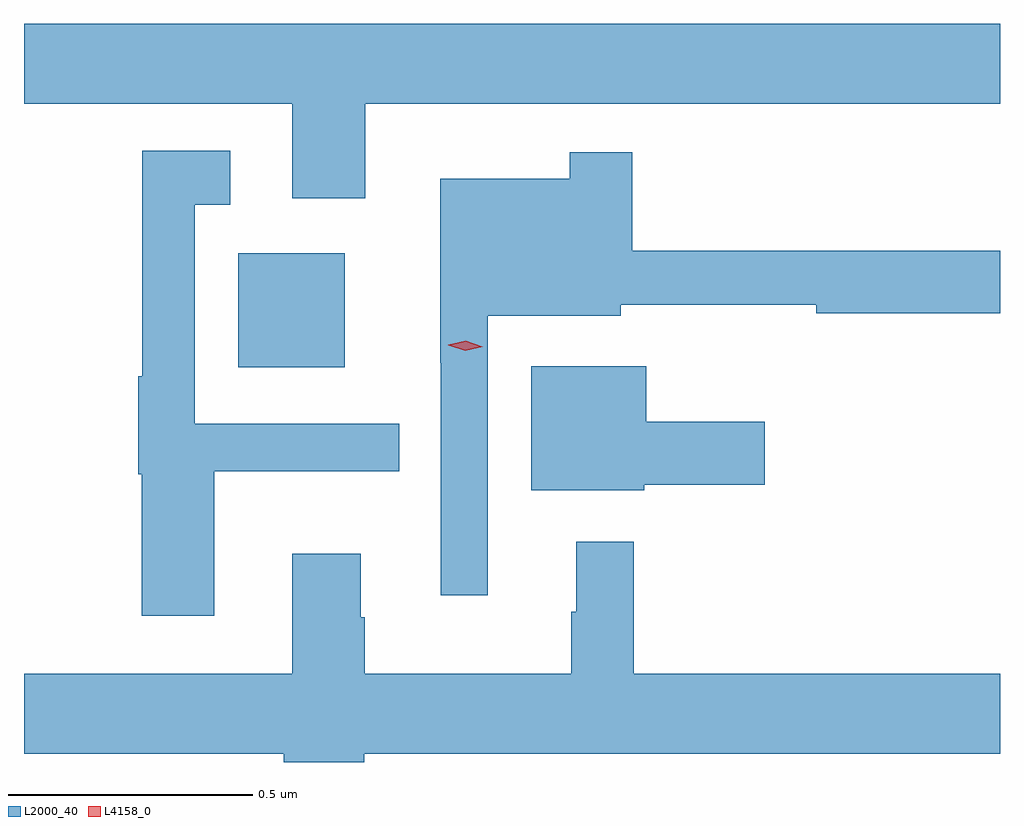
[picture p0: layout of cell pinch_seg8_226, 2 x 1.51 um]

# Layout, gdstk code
import gdstk
lib = gdstk.Library(unit=1e-6, precision=1e-09)
def R(c, l, rs):  # rectangles x0, y0, x1, y1
    for r in rs: c.add(gdstk.rectangle(r[:2], r[2:], *l))
def P(c, l, *ps):  # polygons
    for p in ps: c.add(gdstk.Polygon(p, *l))
L2000_40 = (2000, 40)
L4158_0 = (4158, 0)

pinch_seg8_226 = lib.new_cell('pinch_seg8_226')
R(pinch_seg8_226, L2000_40, [(641.288,1102.64,641.506,1102.873)])
P(pinch_seg8_226, L2000_40, [(641.548,1103.18),(642.849,1103.18),(642.849,1103.344),(640.849,1103.344),(640.849,1103.18),(641.399,1103.18),(641.399,1102.986),(641.548,1102.986)],
  [(641.239,1102.427),(641.618,1102.427),(641.618,1102.524),(641.199,1102.524),(641.199,1102.973),(641.272,1102.973),(641.272,1103.083),(641.091,1103.083),(641.091,1102.621),(641.083,1102.621),(641.083,1102.421),(641.09,1102.421),(641.09,1102.131),(641.239,1102.131)],
  [(641.799,1102.745),(642.072,1102.745),(642.072,1102.768),(642.472,1102.768),(642.472,1102.75),(642.849,1102.75),(642.849,1102.879),(642.095,1102.879),(642.095,1103.08),(641.967,1103.08),(641.967,1103.026),(641.702,1103.026),(641.702,1102.649),(641.703,1102.649),(641.703,1102.173),(641.799,1102.173)],
  [(642.12,1102.399),(642.367,1102.399),(642.367,1102.528),(642.124,1102.528),(642.124,1102.642),(641.888,1102.642),(641.888,1102.388),(642.12,1102.388)],
  [(641.546,1101.848),(642.849,1101.848),(642.849,1102.012),(642.098,1102.012),(642.098,1102.282),(641.981,1102.282),(641.981,1102.139),(641.97,1102.139),(641.97,1102.012),(641.547,1102.012),(641.547,1102.127),(641.539,1102.127),(641.539,1102.258),(641.399,1102.258),(641.399,1102.012),(640.849,1102.012),(640.849,1101.848),(641.381,1101.848),(641.381,1101.83),(641.546,1101.83)])
P(pinch_seg8_226, L4158_0, [(641.753,1102.674),(641.718,1102.685),(641.718,1102.685),(641.718,1102.686),(641.754,1102.694),(641.789,1102.682),(641.789,1102.682),(641.789,1102.682)])

lib.write_gds('pinch_seg8_226.gds')
